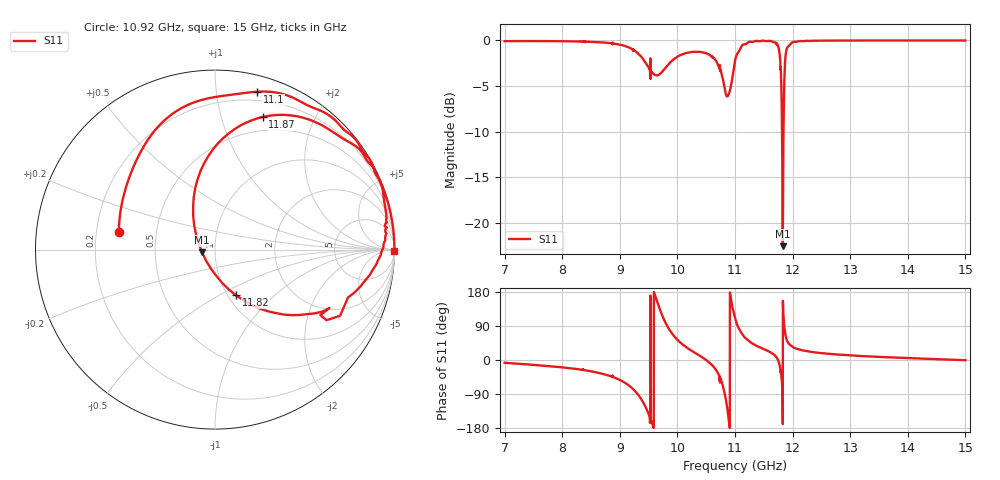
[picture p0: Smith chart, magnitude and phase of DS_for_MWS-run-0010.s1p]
! TOUCHSTONE file generated by CST DESIGN STUDIO
! Date and time: Mon Feb 10 16:56:00 2025
! Project name: C:\Work\MatlabApps\UnitCellType2OptimizationMatlab\CST\unitcell.cst
! Tree item: Tasks\Sweep1\SPara1\S-Parameters
! Header version: 2024
! Port assignment regex: !\s*Touchstone port\s*([0-9]+)\s*=\s*(CST MWS port|CST DES external port|CST DES block port)\s*(.+)\s* \(\"(.*)\"\)(\s*mode\s*([0-9]+))?.*
! Touchstone port assignment:
! Touchstone port 1 = CST DES external port 1 ("")
# GHz S MA R 50
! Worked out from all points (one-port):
!   4001 points, 7 GHz to 15 GHz, reference 50 ohm
!   lowest |S11| = -22.6 dB at 11.83 GHz (marker M1), VSWR 1.16, Z = 43.2 - j1.21 ohm
!   |S11| at or under -10 dB: 11.81603 GHz to 11.84205 GHz (26.03 MHz wide, 0.22 % of centre)
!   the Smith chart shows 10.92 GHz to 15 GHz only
!   S11 on the Smith chart (normalised r, x): 10.92 GHz: 0.30, +0.08; 11.1 GHz: 0.13, +1.29; 11.82 GHz: 1.09, -0.60; 11.87 GHz: 0.35, +1.36; 15 GHz: open
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7  0.9908 -7.4
8  0.9903 -19.4
9  0.9486 -52.5
9.354  0.8264 -99.0
9.466  0.7388 -130.0
9.562  0.6668 -167.2
9.77  0.6933 105.9
10  0.8143 53.4
10.296  0.8665 19.7
10.608  0.8128 -14.4
10.696  0.7447 -32.6
10.806  0.5781 -78.3
10.86  0.4929 -121.3
10.92  0.5442 169.8
11  0.7715 111.7
11.098  0.9102 75.1
11.29  0.981 44.4
11.698  0.9733 11.4
11.762  0.893 -6.4
11.792  0.7154 -27.0
11.818  0.2801 -65.3
11.83  0.07422 -169.2
11.872  0.7861 70.2
11.922  0.9259 45.6
12  0.9796 34.8
13  0.9986 12.2
14  0.9998 5.0
15  0.9992 -0.5
